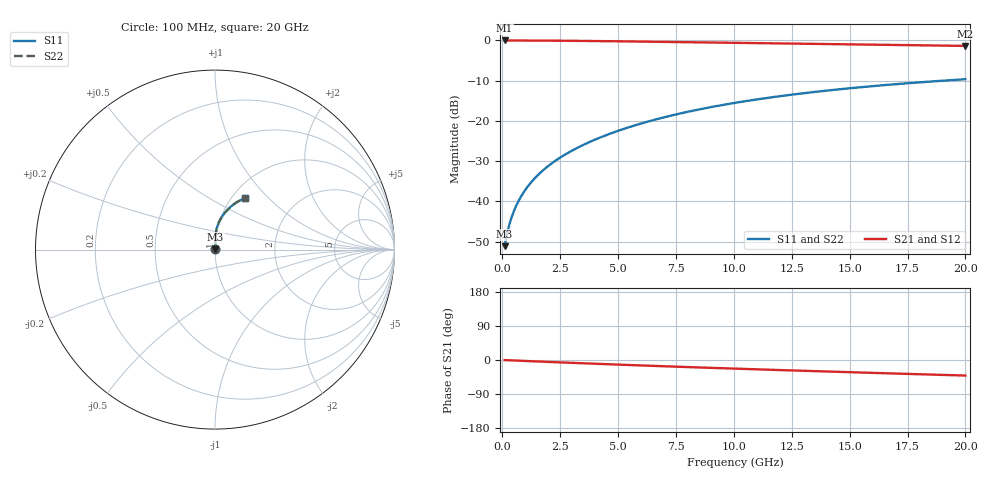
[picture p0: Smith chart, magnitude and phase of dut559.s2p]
! Touchstone file exported from HFSS 2024.1.0
!  File:  C:/UserFiles/LocalFiles/RDL_TSV_Batchsim/temp_RDL_top_559_1779681235.aedt
!  Generated:  11:55:58 AM May 25, 2026
!  Design:  RDL_top
!  Project:  temp_RDL_top_559_1779681235
!  Setup:  Setup1
!  Solution:  Sweep
! Variables:
!  dtsv = 10.80580581um
!  hbump = 3um
!  htsv = 99.69um
!  ldown = 100um
!  lrdl = 587.4um
!  p = 40
!  p1 = 55.06um
!  rhole = 1um
!  t = 450um
!  tdown = 3.915915916um
!  trdl = 3.65um
!  wdown = 15.38538539um
!  wrdl = 28.01um
# GHz S MA R 50.000000
! Terminal data exported
! Port[1] = Box2_T1
! Port[2] = Box2_T2
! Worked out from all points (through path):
!   200 points, 100 MHz to 20 GHz, reference 50 ohm
!   highest |S21| = -0.02 dB at 100 MHz (marker M1); lowest = -1.4 dB at 20 GHz (marker M2)
!   group delay of S21, straight-line fit = 5.62 ps
!   lowest |S11| = -51.1 dB at 100 MHz (marker M3), VSWR 1.01, Z = 50.2 + j0.159 ohm
!   |S11| at or under -10 dB: start of sweep to 19.06 GHz
!   |S22| runs from -51.1 to -9.6 dB; largest |S21 - S12| = 3.3e-15
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0.1  0.002776 34.6  0.9977 -0.3  0.9977 -0.3  0.002776 34.6
! Gamma 0 0 0 0
! Port Impedance 50 0 50 0
0.2  0.0039 51.2  0.9975 -0.5  0.9975 -0.5  0.0039 51.2
0.3  0.005105 59.7  0.9973 -0.8  0.9973 -0.8  0.005105 59.7
0.4  0.006321 65.1  0.9971 -1.0  0.9971 -1.0  0.006322 65.1
0.5  0.007553 69.0  0.9969 -1.3  0.9969 -1.3  0.007553 69.0
0.6  0.008803 71.9  0.9967 -1.5  0.9967 -1.5  0.008803 71.9
0.8  0.01136 76.2  0.9964 -2.1  0.9964 -2.1  0.01136 76.2
1.1  0.0153 80.1  0.9957 -2.8  0.9957 -2.8  0.0153 80.1
1.3  0.01799 81.9  0.9951 -3.3  0.9951 -3.3  0.01799 81.9
1.6  0.0221 83.8  0.9942 -4.1  0.9942 -4.1  0.0221 83.8
2.1  0.02916 85.9  0.9922 -5.3  0.9922 -5.3  0.02916 85.9
2.7  0.03797 87.4  0.9893 -6.8  0.9893 -6.8  0.03797 87.4
3.5  0.05031 88.4  0.9845 -8.7  0.9845 -8.7  0.05032 88.4
4.2  0.06167 88.6  0.9798 -10.4  0.9798 -10.4  0.06167 88.6
5  0.07521 88.3  0.9739 -12.2  0.9739 -12.2  0.07521 88.3
6.8  0.1073 86.3  0.9594 -16.2  0.9594 -16.2  0.1073 86.3
8.4  0.1369 83.5  0.9462 -19.5  0.9462 -19.5  0.1369 83.5
10.1  0.1683 80.2  0.9321 -22.9  0.9321 -22.9  0.1684 80.2
11.7  0.1974 76.8  0.919 -26.0  0.919 -26.0  0.1974 76.8
13.4  0.2272 73.2  0.9054 -29.2  0.9054 -29.2  0.2273 73.2
16.7  0.2812 66.4  0.8793 -35.3  0.8793 -35.3  0.2813 66.5
20  0.3293 60.0  0.8538 -41.0  0.8538 -41.0  0.3293 60.1
